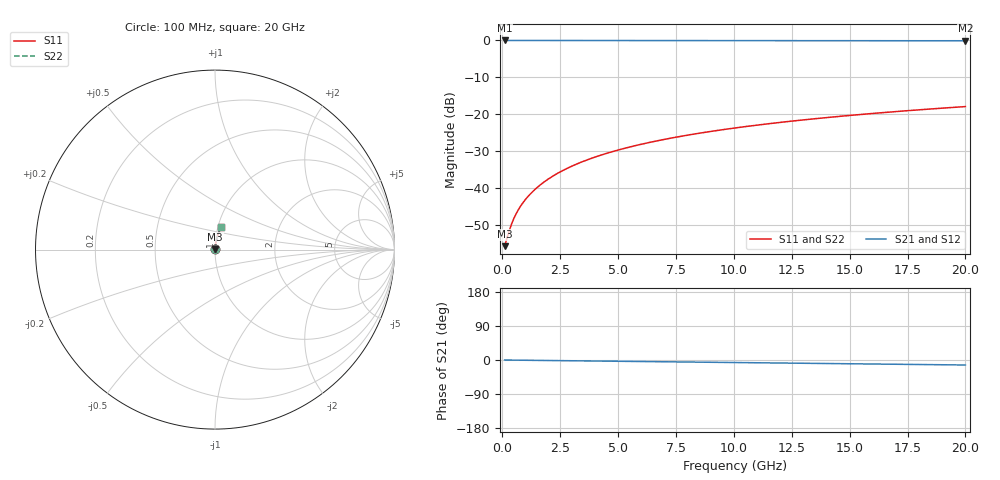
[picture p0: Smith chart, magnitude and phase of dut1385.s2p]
! Touchstone file exported from HFSS 2026.1.0
!  File:  C:/ffzhzh/LocalFiles/Ansys_Project_Files/temp_train_BSMRDL_1385_1783179629_43440.aedt
!  Generated:  11:41:41 PM Jul  4, 2026
!  Design:  BSMRDL
!  Project:  temp_train_BSMRDL_1385_1783179629_43440
! Variables:
!  h_bsmrdl = 2.25um
!  h_ox = 20um
!  h_rdl = 5um
!  h_sub = 80um
!  h_tmrdl = 5um
!  h_tsv = 80um
!  h_via = 3um
!  l_bsmrdl = 160.6um
!  l_sub = 560.6um
!  l_tmrdl = 200um
!  m_sub = 200um
!  pitch = 42.64um
!  r_tsv = 6um
!  s_tmrdl = 10um
!  w_bsmrdl = 23.09um
!  w_sub = 500um
!  w_tmrdl = 12um
!  x_tsv_center1 = 206um
!  x_tsv_center2 = 389.69um
!  x_tsv_center3 = 601.69um
!  x_tsv_center4 = 785.38um
!  x_tsv_center5 = 997.38um
!  x_tsv_center6 = 1181.07um
# GHz S MA R 50.000000
! Terminal data exported
! Port[1] = BSM_RDL1_1_T1
! Port[2] = BSM_RDL1_1_T2
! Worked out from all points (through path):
!   200 points, 100 MHz to 20 GHz, reference 50 ohm
!   highest |S21| = -0.01 dB at 100 MHz (marker M1); lowest = -0.1 dB at 20 GHz (marker M2)
!   group delay of S21, straight-line fit = 1.83 ps
!   lowest |S11| = -55.6 dB at 100 MHz (marker M3), VSWR 1.00, Z = 50.1 + j0.0742 ohm
!   |S11| at or under -10 dB: start of sweep to end of sweep
!   |S22| runs from -55.6 to -17.9 dB; largest |S21 - S12| = 3.1e-15
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0.1  0.001662 26.4  0.9985 -0.1  0.9985 -0.1  0.001662 26.4
! Gamma 0 0 0 0
! Port Impedance 50 0 50 0
0.3  0.002692 54.1  0.9984 -0.2  0.9984 -0.2  0.002692 54.1
0.4  0.003308 60.3  0.9984 -0.3  0.9984 -0.3  0.003308 60.3
0.5  0.003937 64.4  0.9983 -0.4  0.9983 -0.4  0.003937 64.4
0.6  0.004569 67.4  0.9983 -0.4  0.9983 -0.4  0.004569 67.4
0.7  0.0052 69.6  0.9982 -0.5  0.9982 -0.5  0.0052 69.6
0.9  0.006464 72.9  0.9981 -0.6  0.9981 -0.6  0.006464 72.9
1.2  0.008367 76.0  0.9981 -0.8  0.9981 -0.8  0.008367 76.0
1.4  0.009643 77.5  0.998 -1.0  0.998 -1.0  0.009643 77.5
1.7  0.01157 79.0  0.998 -1.1  0.998 -1.1  0.01157 79.0
2.2  0.0148 80.7  0.9979 -1.5  0.9979 -1.5  0.0148 80.7
2.8  0.0187 81.8  0.9978 -1.9  0.9978 -1.9  0.0187 81.8
3.5  0.02326 82.4  0.9976 -2.4  0.9976 -2.4  0.02326 82.4
4.2  0.02783 82.7  0.9974 -2.8  0.9974 -2.8  0.02783 82.7
5  0.03305 82.7  0.9972 -3.4  0.9972 -3.4  0.03305 82.7
5.9  0.03891 82.6  0.9969 -4.0  0.9969 -4.0  0.03891 82.6
6.8  0.04475 82.3  0.9965 -4.5  0.9965 -4.5  0.04475 82.3
8.3  0.05444 81.7  0.9959 -5.5  0.9959 -5.5  0.05444 81.7
10.1  0.066 80.7  0.9949 -6.7  0.9949 -6.7  0.066 80.7
13.4  0.08692 78.9  0.9928 -8.9  0.9928 -8.9  0.08692 78.9
16.7  0.1075 76.9  0.9904 -11.1  0.9904 -11.1  0.1075 76.9
20  0.1277 74.9  0.9875 -13.2  0.9875 -13.2  0.1277 74.9
